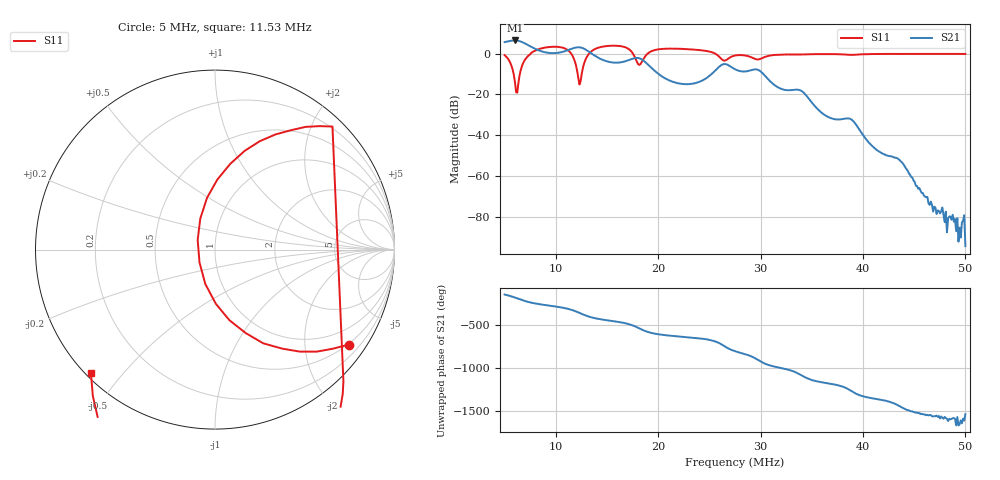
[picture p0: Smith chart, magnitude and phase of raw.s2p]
! S11/S21 only; reverse parameters are placeholders. Device calibration unverified.
! NanoVNA F V2 profile | COM3 | 2026-09-08T11:59:01.2004156-04:00 | device calibration unverified
# HZ S RI R 50
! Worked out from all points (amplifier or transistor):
!   401 points, 5 MHz to 50 MHz, reference 50 ohm
!   highest |S21| = 6.4 dB at 6.013 MHz (marker M1)
!   |S21| within 3 dB of that: start of sweep to 7.559 MHz
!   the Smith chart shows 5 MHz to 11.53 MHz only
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5000000  0.744 -0.5293  -1.524 -1.134  0 0  0 0
6012500  -0.0541 -0.1912  -2.086 -0.0464  0 0  0 0
7250000  0.5046 0.6838  -1.091 1.21  0 0  0 0
7812500  0.6999 -0.875  -0.6122 1.225  0 0  0 0
1.00625e7  -0.0444 -1.46  0.2564 0.9965  0 0  0 0
1.1525e7  -0.6915 -0.6871  1.019 0.8093  0 0  0 0
1.25375e7  0.2513 0.2034  1.361 -0.2233  0 0  0 0
1.3775e7  1.13 -0.5754  0.4777 -0.7581  0 0  0 0
1.61375e7  0.5425 -1.435  -0.1379 -0.5837  0 0  0 0
1.70375e7  -0.1881 -1.311  -0.3917 -0.551  0 0  0 0
1.77125e7  -0.7106 -0.4086  -0.6849 -0.3492  0 0  0 0
1.85e7  0.2582 0.6428  -0.6582 0.2019  0 0  0 0
1.9175e7  1.016 0.3753  -0.3368 0.3505  0 0  0 0
2.0075e7  1.27 -0.0716  -0.1172 0.2883  0 0  0 0
2.33375e7  1.088 -0.6264  0.0496 0.1754  0 0  0 0
2.62625e7  0.5208 -0.4715  0.5279 -0.0935  0 0  0 0
2.75e7  0.8123 -0.3719  0.0449 -0.4102  0 0  0 0
3.0425e7  0.7625 -0.3162  -0.1856 0.2182  0 0  0 0
3.50375e7  0.7009 -0.6618  0.0292 -0.0541  0 0  0 0
4.2575e7  0.4441 -0.8707  0.0021 0.00224  0 0  0 0
4.7075e7  0.2717 -0.939  -8.9e-05 -0.000143  0 0  0 0
5e7  0.1611 -0.9633  -3e-06 -1.9e-05  0 0  0 0
